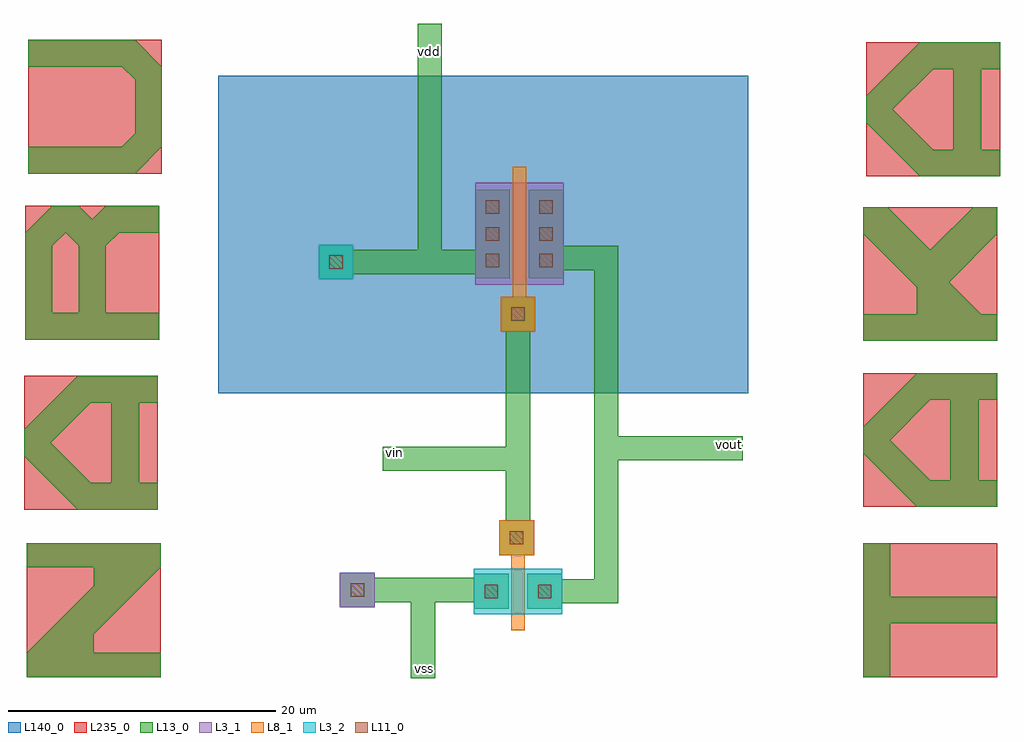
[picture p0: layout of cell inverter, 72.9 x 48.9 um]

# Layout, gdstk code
from math import pi, radians
import gdstk
lib = gdstk.Library(unit=1e-6, precision=1e-07)
def R(c, l, rs):  # rectangles x0, y0, x1, y1
    for r in rs: c.add(gdstk.rectangle(r[:2], r[2:], *l))
def A(c, l, x, y, w, h, nx, ny, dx, dy):  # array of equal rectangles
    R(c, l, [(x+i*dx, y+j*dy, x+i*dx+w, y+j*dy+h) for i in range(nx) for j in range(ny)])
def P(c, l, *ps):  # polygons
    for p in ps: c.add(gdstk.Polygon(p, *l))
L3_1 = (3, 1)
L3_2 = (3, 2)
L8_1 = (8, 1)
L11_0 = (11, 0)
L13_0 = (13, 0)
L140_0 = (140, 0)
L235_0 = (235, 0)

fet_p = lib.new_cell('fet_p')
R(fet_p, L3_1, [(-3.3,-3.8,3.3,3.8)])
A(fet_p, L11_0, -2.5, -2.5, 1, 1, 1, 3, 0, 2)
A(fet_p, L11_0, 1.5, -2.5, 1, 1, 1, 3, 0, 2)
R(fet_p, L13_0, [(-3.3,-3.3,-0.7,3.3), (0.7,-3.3,3.3,3.3)])
fet_p.add(gdstk.FlexPath([(0,-5),(0,5)], 1, ends="flush", simple_path=True, layer=8, datatype=1))  # L8_1

fet_n = lib.new_cell('fet_n')
R(fet_n, L3_2, [(-3.3,-1.7,3.3,1.7)])
R(fet_n, L11_0, [(-2.5,-0.5,-1.5,0.5), (1.5,-0.5,2.5,0.5)])
R(fet_n, L13_0, [(-3.3,-1.3,-0.7,1.3), (0.7,-1.3,3.3,1.3)])
fet_n.add(gdstk.FlexPath([(0,-2.9),(0,2.9)], 1, ends="flush", simple_path=True, layer=8, datatype=1))  # L8_1

cont_g = lib.new_cell('cont_g')
R(cont_g, L8_1, [(-1.3,-1.3,1.3,1.3)])
R(cont_g, L11_0, [(-0.5,-0.5,0.5,0.5)])
R(cont_g, L13_0, [(-1.3,-1.3,1.3,1.3)])

cont_n = lib.new_cell('cont_n')
R(cont_n, L3_2, [(-1.3,-1.3,1.3,1.3)])
R(cont_n, L11_0, [(-0.5,-0.5,0.5,0.5)])
R(cont_n, L13_0, [(-1.3,-1.3,1.3,1.3)])

cont_p = lib.new_cell('cont_p')
R(cont_p, L3_1, [(-1.3,-1.3,1.3,1.3)])
R(cont_p, L11_0, [(-0.5,-0.5,0.5,0.5)])
R(cont_p, L13_0, [(-1.3,-1.3,1.3,1.3)])

c_z = lib.new_cell('Z')
P(c_z, L13_0, [(0,0),(0,1.8),(5,6.8),(5,8.2),(0,8.2),(0,10),(10,10),(10,8.2),(5,3.2),(5,1.8),(10,1.8),(10,0)])
R(c_z, L235_0, [(0,0,10,10)])

c_a = lib.new_cell('A')
P(c_a, L13_0, [(0,0),(0,6),(4,10),(6,10),(10,6),(10,0),(8,0),(8,5),(5,8),(2,5),(2,3.5),(8,3.5),(8,1.4),(2,1.4),(2,0)])
R(c_a, L235_0, [(0,0,10,10)])

c_r = lib.new_cell('R')
P(c_r, L13_0, [(0,0),(0,10),(8,10),(10,8),(10,6),(9,5),(10,4),(10,0),(8,0),(8,3),(7,4),(2,4),(2,6),(7,6),(8,7),(7,8),(2,8),(2,0)])
R(c_r, L235_0, [(0,0,10,10)])

c_u = lib.new_cell('U')
P(c_u, L13_0, [(2,0),(0,2),(0,10),(2,10),(2,3),(3,2),(7,2),(8,3),(8,10),(10,10),(10,2),(8,0)])
R(c_u, L235_0, [(0,0,10,10)])

c_t = lib.new_cell('T')
P(c_t, L13_0, [(4,0),(4,8),(0,8),(0,10),(10,10),(10,8),(6,8),(6,0)])
R(c_t, L235_0, [(0,0,10,10)])

c_k = lib.new_cell('K')
P(c_k, L13_0, [(0,0),(0,10),(2,10),(2,6),(4,6),(8,10),(10,10),(10,8.2),(6.8,5),(10,1.8),(10,0),(8,0),(4.4,3.6),(2,1.2),(2,0)])
R(c_k, L235_0, [(0,0,10,10)])

inverter = lib.new_cell('inverter')
R(inverter, L140_0, [(-53.2,33.7,-13.6,57.4)])
inverter.add(gdstk.FlexPath([(-32.6,19),(-42.6,19)], 1.8, ends="flush", simple_path=True, layer=13, datatype=0))  # L13_0
inverter.add(gdstk.FlexPath([(-37.9,19),(-37.9,12.4)], 1.8, ends="flush", simple_path=True, layer=13, datatype=0))  # L13_0
inverter.add(gdstk.FlexPath([(-37.4,43.2),(-37.4,61.3)], 1.8, ends="flush", simple_path=True, layer=13, datatype=0))  # L13_0
inverter.add(gdstk.FlexPath([(-28.9,43.8),(-24.2,43.8),(-24.2,18.9),(-28.8,18.9),(-28.8,18.9)], 1.8, ends="flush", simple_path=True, layer=13, datatype=0))  # L13_0
inverter.add(gdstk.FlexPath([(-30.8,39.4),(-30.8,22.9),(-30.9,22.9)], 1.8, ends="flush", simple_path=True, layer=13, datatype=0))  # L13_0
inverter.add(gdstk.FlexPath([(-32.6,43.5),(-44.4,43.5)], 1.8, ends="flush", simple_path=True, layer=13, datatype=0))  # L13_0
inverter.add(gdstk.FlexPath([(-30.3,28.8),(-40.9,28.8),(-40.9,28.8)], 1.8, ends="flush", simple_path=True, layer=13, datatype=0))  # L13_0
inverter.add(gdstk.FlexPath([(-14,29.6),(-24.2,29.6)], 1.8, ends="flush", simple_path=True, layer=13, datatype=0))  # L13_0
inverter.add(gdstk.Reference(fet_p, (-30.7,45.6)))
inverter.add(gdstk.Reference(fet_n, (-30.8,18.9)))
inverter.add(gdstk.Reference(cont_g, (-30.8,39.6)))
inverter.add(gdstk.Reference(cont_n, (-44.4,43.5)))
inverter.add(gdstk.Reference(cont_g, (-30.9,22.9)))
inverter.add(gdstk.Reference(cont_p, (-42.8,19)))
inverter.add(gdstk.Reference(c_z, (-57.5,22.5), rotation=pi))
inverter.add(gdstk.Reference(c_a, (-57.7,25), rotation=pi/2))
inverter.add(gdstk.Reference(c_r, (-57.6,37.7), rotation=pi/2))
inverter.add(gdstk.Reference(c_u, (-57.4,50.1), rotation=pi/2))
inverter.add(gdstk.Reference(c_t, (5,12.5), rotation=pi/2))
inverter.add(gdstk.Reference(c_a, (5,25.2), rotation=pi/2))
inverter.add(gdstk.Reference(c_k, (5,37.6), rotation=pi/2))
inverter.add(gdstk.Reference(c_a, (5.2,49.9), rotation=pi/2))
inverter.add(gdstk.Label('vdd', (-37.4,59.2), layer=48, texttype=0))
inverter.add(gdstk.Label('vout', (-15,29.9), layer=48, texttype=0))
inverter.add(gdstk.Label('vss', (-37.8,13.1), layer=48, texttype=0))
inverter.add(gdstk.Label('vin', (-40,29.3), layer=48, texttype=0))

lib.write_gds('inverter.gds')
